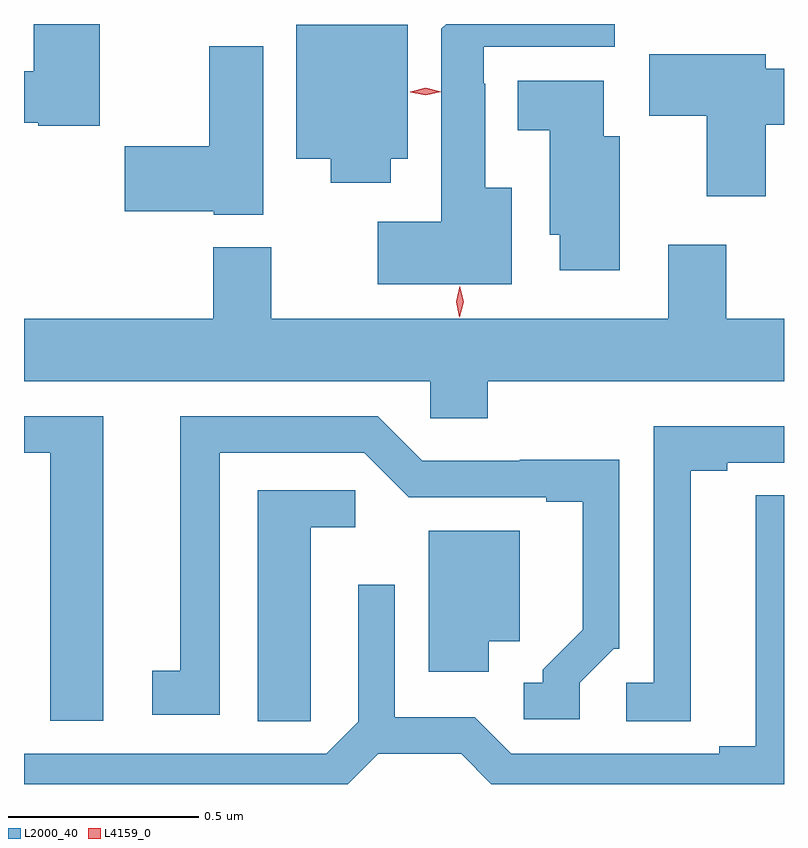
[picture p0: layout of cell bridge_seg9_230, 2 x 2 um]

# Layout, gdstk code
import gdstk
lib = gdstk.Library(unit=1e-6, precision=1e-09)
def P(c, l, *ps):  # polygons
    for p in ps: c.add(gdstk.Polygon(p, *l))
L2000_40 = (2000, 40)
L4159_0 = (4159, 0)

bridge_seg9_230 = lib.new_cell('bridge_seg9_230')
P(bridge_seg9_230, L2000_40, [(145.06,1218.241),(144.991,1218.241),(144.991,1218.515),(144.987,1218.515),(144.987,1218.612),(145.331,1218.612),(145.331,1218.672),(144.888,1218.672),(144.875,1218.659),(144.875,1218.151),(144.708,1218.151),(144.708,1217.987),(145.06,1217.987)],
  [(143.976,1218.672),(143.803,1218.672),(143.803,1218.548),(143.777,1218.548),(143.777,1218.412),(143.814,1218.412),(143.814,1218.404),(143.976,1218.404)],
  [(144.742,1218.317),(144.787,1218.317),(144.787,1218.67),(144.494,1218.67),(144.494,1218.317),(144.584,1218.317),(144.584,1218.254),(144.742,1218.254)],
  [(144.406,1218.613),(144.265,1218.613),(144.265,1218.35),(144.042,1218.35),(144.042,1218.179),(144.276,1218.179),(144.276,1218.17),(144.406,1218.17)],
  [(145.729,1218.407),(145.777,1218.407),(145.777,1218.554),(145.729,1218.554),(145.729,1218.592),(145.422,1218.592),(145.422,1218.43),(145.574,1218.43),(145.574,1218.219),(145.729,1218.219)],
  [(145.345,1218.376),(145.303,1218.376),(145.303,1218.523),(145.076,1218.523),(145.076,1218.392),(145.16,1218.392),(145.16,1218.117),(145.187,1218.117),(145.187,1218.024),(145.345,1218.024)],
  [(144.998,1217.732),(145.777,1217.732),(145.777,1217.896),(145.625,1217.896),(145.625,1218.091),(145.472,1218.091),(145.472,1217.896),(144.427,1217.896),(144.427,1218.085),(144.275,1218.085),(144.275,1217.896),(143.777,1217.896),(143.777,1217.732),(144.846,1217.732),(144.846,1217.634),(144.998,1217.634)],
  [(145.239,1216.938),(145.329,1217.028),(145.344,1217.028),(145.344,1217.525),(145.081,1217.525),(145.081,1217.523),(144.825,1217.523),(144.708,1217.64),(144.188,1217.64),(144.188,1216.97),(144.114,1216.97),(144.114,1216.854),(144.292,1216.854),(144.292,1217.544),(144.672,1217.544),(144.789,1217.427),(145.151,1217.427),(145.151,1217.415),(145.247,1217.415),(145.247,1217.078),(145.142,1216.973),(145.142,1216.938),(145.092,1216.938),(145.092,1216.842),(145.239,1216.842)],
  [(143.986,1217.64),(143.777,1217.64),(143.777,1217.544),(143.846,1217.544),(143.846,1216.839),(143.986,1216.839)],
  [(145.531,1217.497),(145.627,1217.497),(145.627,1217.517),(145.777,1217.517),(145.777,1217.613),(145.434,1217.613),(145.434,1216.938),(145.362,1216.938),(145.362,1216.837),(145.531,1216.837)],
  [(144.531,1216.945),(144.532,1216.945),(144.532,1217.348),(144.649,1217.348),(144.649,1217.445),(144.392,1217.445),(144.392,1216.837),(144.531,1216.837)],
  [(144.709,1216.752),(144.927,1216.752),(145.007,1216.672),(145.777,1216.672),(145.777,1217.432),(145.703,1217.432),(145.703,1216.772),(145.607,1216.772),(145.607,1216.752),(145.059,1216.752),(144.963,1216.848),(144.753,1216.848),(144.753,1217.197),(144.657,1217.197),(144.657,1216.836),(144.573,1216.752),(143.777,1216.752),(143.777,1216.672),(144.629,1216.672)],
  [(145,1217.048),(145.081,1217.048),(145.081,1217.338),(144.842,1217.338),(144.842,1216.968),(145,1216.968)])
P(bridge_seg9_230, L4159_0, [(144.924,1217.9),(144.923,1217.901),(144.914,1217.941),(144.924,1217.982),(144.924,1217.982),(144.924,1217.982),(144.934,1217.941),(144.924,1217.901)],
  [(144.834,1218.484),(144.794,1218.493),(144.794,1218.494),(144.794,1218.494),(144.834,1218.504),(144.875,1218.494),(144.875,1218.494),(144.875,1218.494)])

lib.write_gds('bridge_seg9_230.gds')
